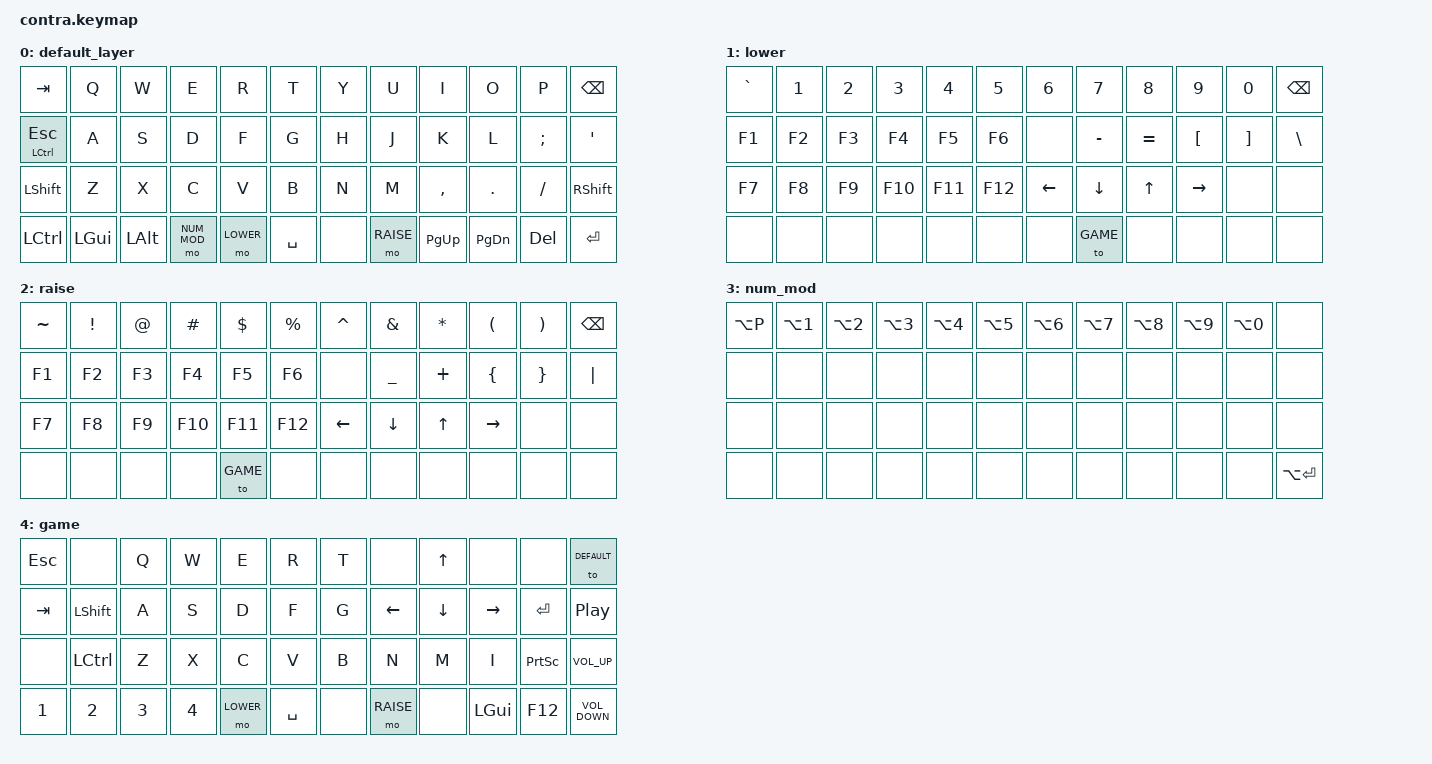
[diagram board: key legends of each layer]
#include <behaviors.dtsi>
#include <dt-bindings/zmk/keys.h>
#include <dt-bindings/zmk/bt.h>

#define DEFAULT  0
#define LOWER    1
#define RAISE    2
#define NUM_MOD  3
#define GAME     4

/ {
    keymap {
        compatible = "zmk,keymap";

        default_layer {
            bindings = <
    &kp TAB         &kp Q     &kp W    &kp E        &kp R        &kp T      &kp Y     &kp U        &kp I     &kp O     &kp P    &kp BSPC
    &mt LCTRL ESC   &kp A     &kp S    &kp D        &kp F        &kp G      &kp H     &kp J        &kp K     &kp L     &kp SEMI &kp SQT
    &kp LSHFT       &kp Z     &kp X    &kp C        &kp V        &kp B      &kp N     &kp M        &kp COMMA &kp DOT   &kp FSLH &kp RSHFT
    &kp LCTRL       &kp LGUI  &kp LALT &mo NUM_MOD  &mo LOWER    &kp SPACE  &none     &mo RAISE    &kp PG_UP &kp PG_DN &kp DEL  &kp ENTER
            >;
        };

        lower {
            bindings = <
    &kp GRAVE &kp N1    &kp N2   &kp N3   &kp N4      &kp N5     &kp N6    &kp N7      &kp N8    &kp N9    &kp N0    &kp BSPC
    &kp F1    &kp F2    &kp F3   &kp F4   &kp F5      &kp F6     &none     &kp MINUS   &kp EQUAL &kp LBKT  &kp RBKT  &kp BSLH
    &kp F7    &kp F8    &kp F9   &kp F10  &kp F11     &kp F12    &kp LEFT  &kp DOWN    &kp UP    &kp RIGHT &none     &none
    &none     &none     &none    &none    &none       &none      &none     &to GAME    &none     &none     &none     &none
            >;
        };

        raise {
            bindings = <
    &kp TILDE  &kp EXCL  &kp AT    &kp HASH   &kp DOLLAR   &kp PRCNT    &kp CARET  &kp AMPS  &kp ASTRK  &kp LPAR   &kp RPAR &kp BSPC
    &kp F1     &kp F2    &kp F3    &kp F4     &kp F5       &kp F6       &none      &kp UNDER &kp PLUS   &kp LBRC   &kp RBRC &kp PIPE 
    &kp F7     &kp F8    &kp F9    &kp F10    &kp F11      &kp F12      &kp LEFT   &kp DOWN  &kp UP     &kp RIGHT  &none    &none
    &none      &none     &none     &none      &to GAME     &none        &none      &none     &none      &none      &none    &none 
            >;
        };

        num_mod {
            bindings = <
    &kp LA(P) &kp LA(N1) &kp LA(N2) &kp LA(N3) &kp LA(N4) &kp LA(N5) &kp LA(N6) &kp LA(N7) &kp LA(N8) &kp LA(N9) &kp LA(N0) &none
    &none     &none      &none      &none      &none      &none      &none      &none      &none      &none      &none      &none
    &none     &none      &none      &none      &none      &none      &none      &none      &none      &none      &none      &none
    &none     &none      &none      &none      &none      &none      &none      &none      &none      &none      &none      &kp LA(ENTER)
            >;
        };

        game {
            bindings = <
    &kp ESC    &none       &kp Q     &kp W    &kp E        &kp R      &kp T     &none        &kp UP    &none     &none     &to DEFAULT
    &kp TAB    &kp LSHFT   &kp A     &kp S    &kp D        &kp F      &kp G     &kp LEFT     &kp DOWN  &kp RIGHT &kp ENTER &kp C_PLAY_PAUSE
    &none      &kp LCTRL   &kp Z     &kp X    &kp C        &kp V      &kp B     &kp N        &kp M     &kp I     &kp PSCRN &kp C_VOLUME_UP
    &kp N1     &kp N2      &kp N3    &kp N4   &mo LOWER    &kp SPACE  &none     &mo RAISE    &none     &kp LGUI  &kp F12   &kp C_VOLUME_DOWN
            >;
        };
    };
};
